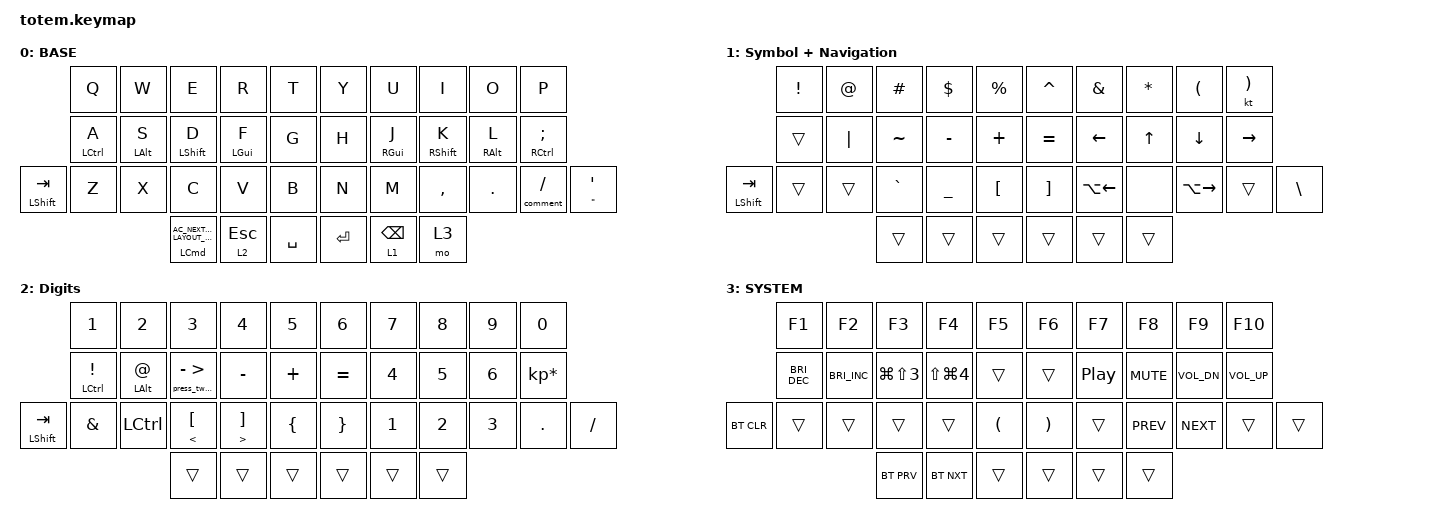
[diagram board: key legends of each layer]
//
//                                                        ▀▀▀▀▀     ▀▀▀▀▀          ▀▀█▀▀
//                                                        ▄▀▀▀▄  ▄  ▄▀▀▀▄  ▄  ▄▀▀▀▄  █  ▄▀▀▀▄
//                                                        █   █  █  █   █  █  █   █  █  █   █
//                                                         ▀▀▀   █   ▀▀▀   █   ▀▀▀   ▀   ▀▀▀
//                                                               █      ▄▄▄█▄▄▄    █   █
//                                                               ▀      █  █  █     █▄█
//                                                             ▀▀▀▀▀    █  █  █      ▀
//                                                                      ▀  ▀  ▀
//
// ▄▄▄▄▄▄▄▄▄▄▄▄▄▄▄▄▄▄▄▄▄▄▄▄▄▄▄▄▄▄▄▄▄▄▄▄▄▄▄▄▄▄▄▄▄▄▄▄▄▄▄▄▄▄▄▄▄▄▄▄▄▄▄▄▄▄▄▄▄▄▄▄▄▄▄▄▄▄▄▄▄▄▄▄▄▄▄▄▄▄▄▄▄▄▄▄▄▄▄▄▄▄▄▄▄▄▄▄▄▄▄▄▄▄▄▄▄▄▄▄▄▄▄▄▄▄▄▄▄▄▄▄▄▄▄▄▄▄▄▄▄▄▄▄▄▄▄▄▄

#include "zmk-helpers/helper.h"
#include "zmk-helpers/key-labels/totem.h"
#include <behaviors.dtsi>
#include <dt-bindings/zmk/bt.h>
#include <dt-bindings/zmk/keys.h>
#include <dt-bindings/zmk/keys.h>

#define BASE 0
#define NAV  1
#define DIG  2
#define SYS  3
#define QUICK_TAP_MS 175

/* Timeless homerow mods */
// https://github.com/urob/zmk-config/tree/main#timeless-homerow-mods

#define KEYS_L LT0 LT1 LT2 LT3 LT4 LM0 LM1 LM2 LM3 LM4 LB0 LB1 LB2 LB3 LB4 LB5  // left hand
#define KEYS_R RT0 RT1 RT2 RT3 RT4 RM0 RM1 RM2 RM3 RM4 RB0 RB1 RB2 RB3 RB4 RB5  // right hand
#define THUMBS LH2 LH1 LH0 RH0 RH1 RH2 // thumb cluster for both hands

// proper urob's home row, uncomment it if you are not going to use visual editor
//#define MAKE_HRM(NAME, HOLD, TAP, TRIGGER_POS) \
//    ZMK_HOLD_TAP(NAME, \
//        flavor = "balanced"; \
//        tapping-term-ms = <280>; \
//        quick-tap-ms = <QUICK_TAP_MS>; \
//        require-prior-idle-ms = <150>; \
//        bindings = <HOLD>, <TAP>; \
//        hold-trigger-key-positions = <TRIGGER_POS>; \
//        hold-trigger-on-release; \
//    )
//
//MAKE_HRM(hml, &kp, &kp, KEYS_R THUMBS)  // left-hand HRMs
//MAKE_HRM(hmr, &kp, &kp, KEYS_L THUMBS)  // right-hand HRMs
//MAKE_HRM(hml_layer, &mo, &kp, KEYS_R THUMBS) // switch layer like HRM

&mt {
    quick-tap-ms = <100>;
    global-quick-tap;
    flavor = "tap-preferred";
    tapping-term-ms = <170>;
};

/ {
    combos {
        compatible = "zmk,combos";

        backspace {
            bindings = <&kp BACKSPACE>;
            key-positions = <16 17>;
            timeout-ms = <70>;
        };

        opt_backspace {
            bindings = <&kp LA(BACKSPACE)>;
            key-positions = <16 17 18>;
            timeout-ms = <70>;
        };

        shift {
            bindings = <&sk LEFT_SHIFT>;
            key-positions = <13 12>;
            timeout-ms = <100>;
        };

        to_digits_layer {
            bindings = <&to 3>;
            key-positions = <32 37>;
        };

        caps-words {
            bindings = <&caps_word>;
            key-positions = <11 12 13>;
        };
    };

    macros {
        /**
         * Temporarily switches to a layer (`&mo`) while a modifier is held.
         * Analogous to QMK's `LM()`, using a parameterized macro.
         *
         * Params:
         *  1. Layer to switch to
         *  2. Modifier to press while layer is active
         *
         * Example:
         *  `&lm NUM_LAYER LSHIFT`
         */

        lm: lm {
            compatible = "zmk,behavior-macro-two-param";
            wait-ms = <0>;
            tap-ms = <0>;
            #binding-cells = <2>;
            bindings =
                <&macro_param_1to1>,
                <&macro_press>,
                <&mo MACRO_PLACEHOLDER &macro_param_2to1>,
                <&macro_press>,
                <&kp MACRO_PLACEHOLDER>,
                <&macro_pause_for_release>,
                <&macro_param_2to1>,
                <&macro_release>,
                <&kp MACRO_PLACEHOLDER &macro_param_1to1>,
                <&macro_release>,
                <&mo MACRO_PLACEHOLDER>;
        };

        press_two_keys: press_two_keys {
            compatible = "zmk,behavior-macro-two-param";
            wait-ms = <0>;
            tap-ms = <0>;
            #binding-cells = <2>;
            bindings =
                <&macro_param_1to1>,
                <&macro_tap>,
                <&kp MACRO_PLACEHOLDER &macro_param_2to1>,
                <&macro_tap>,
                <&kp MACRO_PLACEHOLDER>;
        };

        more_or_equal: more_or_equal {
            compatible = "zmk,behavior-macro";
            #binding-cells = <0>;
            bindings = <&kp MINUS &kp GT>;
            label = "MORE_OR_EQUAL";
        };

        less_or_equal: less_or_equal {
            compatible = "zmk,behavior-macro";
            #binding-cells = <0>;
            bindings = <&kp LT &kp EQUAL>;
            label = "LESS_OR_EQUAL";
        };

        fun_arrow_right: fun_arrow_right {
            compatible = "zmk,behavior-macro";
            #binding-cells = <0>;
            bindings = <&kp MINUS &kp GT>;
            label = "FUN_ARROW_RIGHT";
        };

        comment: comment {
            compatible = "zmk,behavior-macro";
            #binding-cells = <0>;
            bindings = <&kp FSLH &kp STAR>;
            label = "MACROS_COMMENT";
        };
    };

    behaviors {
        // this is homerow mod that works identical to urob's one, but this one allows visual editor to understand

        hml: hml {
            compatible = "zmk,behavior-hold-tap";
            label = "HML";
            bindings = <&kp>, <&kp>;

            #binding-cells = <2>;
            tapping-term-ms = <280>;
            quick-tap-ms = <175>;
            require-prior-idle-ms = <150>;
            flavor = "balanced";
            hold-trigger-key-positions = <KEYS_R THUMBS>;
            hold-trigger-on-release;
        };

        hmr: hmr {
            compatible = "zmk,behavior-hold-tap";
            label = "HMR";
            bindings = <&kp>, <&kp>;

            #binding-cells = <2>;
            tapping-term-ms = <280>;
            quick-tap-ms = <175>;
            require-prior-idle-ms = <150>;
            flavor = "balanced";
            hold-trigger-key-positions = <KEYS_L THUMBS>;
            hold-trigger-on-release;
        };

        comment_or: comment_or {
            compatible = "zmk,behavior-hold-tap";
            label = "slash_or_comm";
            bindings = <&comment>, <&kp>;

            #binding-cells = <2>;
            tapping-term-ms = <200>;
            flavor = "tap-preferred";
        };
    };

    keymap {
        compatible = "zmk,keymap";

        QWERTY {
            label = "BASE";
            bindings = <
                     &kp Q         &kp W        &kp E                                               &kp R            &kp T        &kp Y    &kp U             &kp I         &kp O             &kp P
                     &hml LCTRL A  &hml LALT S  &hml LSHFT D                                        &hml LEFT_GUI F  &kp G        &kp H    &hmr RIGHT_GUI J  &hmr RSHFT K  &hmr RIGHT_ALT L  &hmr RCTRL SEMICOLON
&hml LEFT_SHIFT TAB  &kp Z         &kp X        &kp C                                               &kp V            &kp B        &kp N    &kp M             &kp COMMA     &kp DOT           &comment_or 0 SLASH   &mt DOUBLE_QUOTES SQT
                                                &hml LEFT_COMMAND C_AC_NEXT_KEYBOARD_LAYOUT_SELECT  &lt 2 ESC        &kp SPACE    &kp RET  &lt 1 BACKSPACE   &mo 3
            >;
        };

        SymbolNavigation {
            label = "Symbol + Navigation";
            bindings = <
                     &kp EXCLAMATION  &kp AT_SIGN  &kp HASH   &kp DOLLAR      &kp PERCENT         &kp CARET          &kp AMPS      &kp ASTERISK  &kp LEFT_PARENTHESIS  &kt RIGHT_PARENTHESIS
                     &trans           &kp PIPE     &kp TILDE  &kp MINUS       &kp PLUS            &kp EQUAL          &kp LEFT      &kp UP_ARROW  &kp DOWN              &kp RIGHT
&hml LEFT_SHIFT TAB  &trans           &trans       &kp GRAVE  &kp UNDERSCORE  &kp LEFT_BRACKET    &kp RIGHT_BRACKET  &kp LA(LEFT)  &none         &kp LA(RIGHT)         &trans                 &kp BACKSLASH
                                                   &trans     &trans          &trans              &trans             &trans        &trans
            >;
        };

        digits {
            label = "Digits";
            bindings = <
                     &kp NUMBER_1            &kp NUMBER_2           &kp NUMBER_3                        &kp NUMBER_4                    &kp N5            &kp NUMBER_6     &kp N7  &kp N8  &kp N9  &kp N0
                     &hml LCTRL EXCLAMATION  &hml LEFT_ALT AT_SIGN  &press_two_keys MINUS GREATER_THAN  &kp MINUS                       &kp PLUS          &kp EQUAL        &kp N4  &kp N5  &kp N6  &kp KP_MULTIPLY
&hml LEFT_SHIFT TAB  &kp AMPERSAND           &kp LCTRL              &mt LESS_THAN LEFT_BRACKET          &mt GREATER_THAN RIGHT_BRACKET  &kp LEFT_BRACE    &kp RIGHT_BRACE  &kp N1  &kp N2  &kp N3  &kp PERIOD       &kp SLASH
                                                                    &trans                              &trans                          &trans            &trans           &trans  &trans
            >;
        };

        sim_layer {
            label = "SYSTEM";
            bindings = <
            &kp F1                &kp F2                &kp F3                &kp F4                &kp F5                  &kp F6                 &kp F7    &kp F8      &kp F9        &kp F10
            &kp C_BRIGHTNESS_DEC  &kp C_BRIGHTNESS_INC  &kp LG(LS(NUMBER_3))  &kp LS(LG(NUMBER_4))  &trans                  &trans                 &kp C_PP  &kp C_MUTE  &kp C_VOL_DN  &kp C_VOL_UP
&bt BT_CLR  &trans                &trans                &trans                &trans                &kp LEFT_PARENTHESIS    &kp RIGHT_PARENTHESIS  &trans    &kp C_PREV  &kp C_NEXT    &trans        &trans
                                                        &bt BT_PRV            &bt BT_NXT            &trans                  &trans                 &trans    &trans
            >;
        };
    };
};
